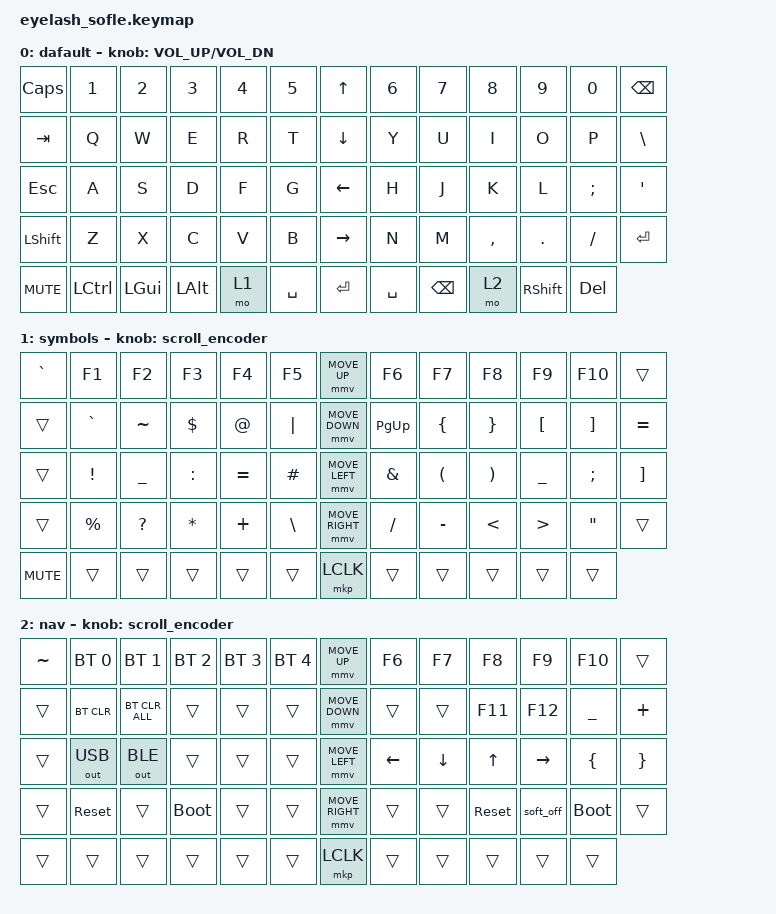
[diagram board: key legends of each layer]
#include <behaviors.dtsi>
#include <dt-bindings/zmk/bt.h>
#include <dt-bindings/zmk/keys.h>
#include <dt-bindings/zmk/mouse.h>
#include <dt-bindings/zmk/outputs.h>
#include <dt-bindings/zmk/rgb.h>

#include <input/processors.dtsi>

/*

   &mmv_input_listener {
       input-processors = <&zip_xy_scaler 2 1>;
   };

   &msc_input_listener {
       input-processors = <&zip_xy_scaler 2 1>;
   };

 */

#define ZMK_MOUSE_DEFAULT_MOVE_VAL 1200  // 600
#define ZMK_MOUSE_DEFAULT_SCRL_VAL 20    // 10


/ {
    behaviors {
        mmv {
            acceleration-exponent = <1>;      // 1
            time-to-max-speed-ms = <900>;    // 40
            delay-ms = <0>;                   // 0
        };

        msc {
            acceleration-exponent = <1>;      // 0
            time-to-max-speed-ms = <400>;      // 500
            delay-ms = <0>;                   //   10
        };
    };

    scroll_encoder: scroll_encoder {
        compatible = "zmk,behavior-sensor-rotate";
        #sensor-binding-cells = <0>;
        bindings = <&msc SCRL_DOWN>, <&msc SCRL_UP>;

        tap-ms = <30>;
    };

    keymap {
        compatible = "zmk,keymap";

        default {
            bindings = <
&kp CAPSLOCK  &kp N1     &kp N2        &kp N3        &kp N4  &kp N5       &kp UP_ARROW     &kp N6     &kp N7         &kp N8     &kp N9           &kp N0      &kp BACKSPACE
&kp TAB       &kp Q      &kp W         &kp E         &kp R   &kp T        &kp DOWN_ARROW   &kp Y      &kp U          &kp I      &kp O            &kp P       &kp BSLH
&kp ESC       &kp A      &kp S         &kp D         &kp F   &kp G        &kp LEFT_ARROW   &kp H      &kp J          &kp K      &kp L            &kp SEMI    &kp APOS
&kp LSHFT     &kp Z      &kp X         &kp C         &kp V   &kp B        &kp RIGHT_ARROW  &kp N      &kp M          &kp COMMA  &kp DOT          &kp FSLH    &kp ENTER
&kp C_MUTE    &kp LCTRL  &kp LEFT_GUI  &kp LEFT_ALT  &mo 1   &kp SPACE    &kp ENTER        &kp SPACE  &kp BACKSPACE  &mo 2      &kp RIGHT_SHIFT  &kp DELETE
            >;

            sensor-bindings = <&inc_dec_kp C_VOLUME_UP C_VOL_DN>;
            display-name = "dafault";
        };

        symbols {
            bindings = <
&kp GRAVE   &kp F1       &kp F2        &kp F3      &kp F4     &kp F5           &mmv MOVE_UP     &kp F6         &kp F7                &kp F8                 &kp F9            &kp F10            &trans
&trans      &kp GRAVE    &kp TILDE     &kp DOLLAR  &kp AT     &kp PIPE         &mmv MOVE_DOWN   &kp PG_UP      &kp LEFT_BRACE        &kp RIGHT_BRACE        &kp LEFT_BRACKET  &kp RIGHT_BRACKET  &kp EQUAL
&trans      &kp EXCL     &kp UNDER     &kp COLON   &kp EQUAL  &kp HASH         &mmv MOVE_LEFT   &kp AMPERSAND  &kp LEFT_PARENTHESIS  &kp RIGHT_PARENTHESIS  &kp UNDER         &kp SEMICOLON      &kp RIGHT_BRACKET
&trans      &kp PERCENT  &kp QUESTION  &kp ASTRK   &kp PLUS   &kp BACKSLASH    &mmv MOVE_RIGHT  &kp SLASH      &kp MINUS             &kp LESS_THAN          &kp GREATER_THAN  &kp DOUBLE_QUOTES  &trans
&kp C_MUTE  &trans       &trans        &trans      &trans     &trans           &mkp LCLK        &trans         &trans                &trans                 &trans            &trans
            >;

            display-name = "symbols";
            sensor-bindings = <&scroll_encoder>;
        };

        navigation {
            bindings = <
&kp TILDE  &bt BT_SEL 0  &bt BT_SEL 1    &bt BT_SEL 2  &bt BT_SEL 3  &bt BT_SEL 4    &mmv MOVE_UP     &kp F6          &kp F7          &kp F8        &kp F9           &kp F10      &trans
&trans     &bt BT_CLR    &bt BT_CLR_ALL  &trans        &trans        &trans          &mmv MOVE_DOWN   &trans          &trans          &kp F11       &kp F12          &kp UNDER    &kp PLUS
&trans     &out OUT_USB  &out OUT_BLE    &trans        &trans        &trans          &mmv MOVE_LEFT   &kp LEFT_ARROW  &kp DOWN_ARROW  &kp UP_ARROW  &kp RIGHT_ARROW  &kp LBRC     &kp RBRC
&trans     &sys_reset    &trans          &bootloader   &trans        &trans          &mmv MOVE_RIGHT  &trans          &trans          &sys_reset    &soft_off        &bootloader  &trans
&trans     &trans        &trans          &trans        &trans        &trans          &mkp LCLK        &trans          &trans          &trans        &trans           &trans
            >;

            display-name = "nav";
            sensor-bindings = <&scroll_encoder>;
        };
    };
};
